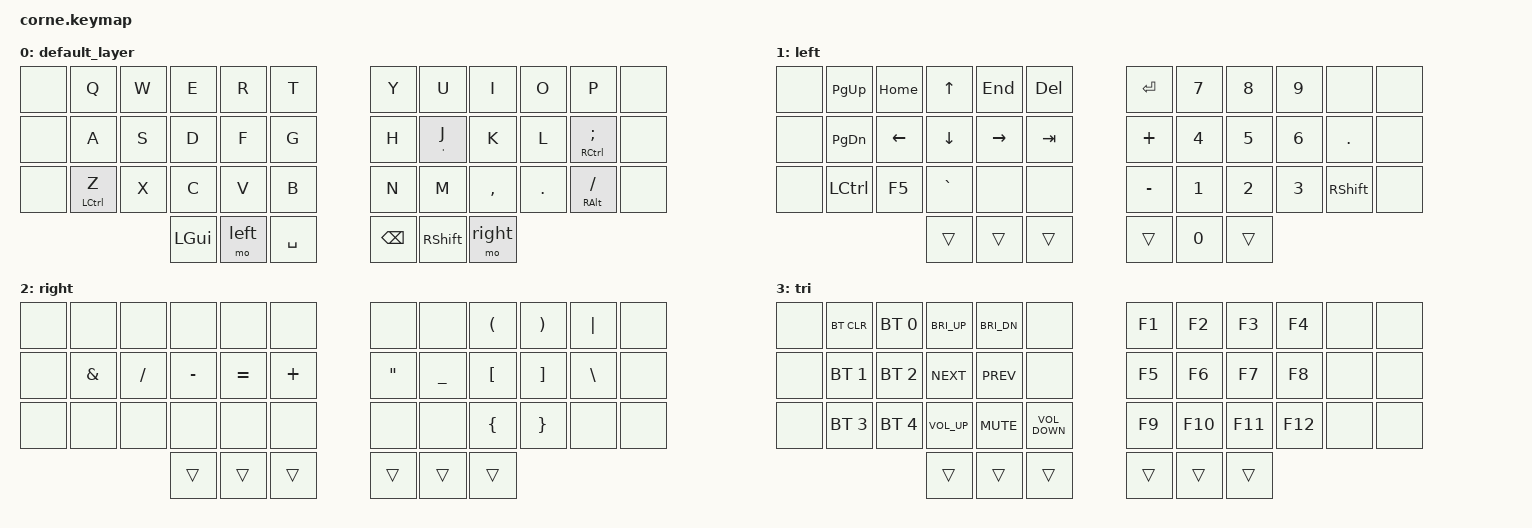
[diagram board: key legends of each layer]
/*
 * Copyright (c) 2020 The ZMK Contributors
 *
 * SPDX-License-Identifier: MIT
 */

#include <behaviors.dtsi>
#include <dt-bindings/zmk/keys.h>
#include <dt-bindings/zmk/bt.h>

#define default_layer 0
#define left 1
#define right 2
#define tri 3

&mt {
        tapping-term-ms=<250>;
};

/ {
//              q+w = ESC
        combos {
                compatible = "zmk,combos";
                combo_esc {
                        timeout-ms = <50>;
                        layers = <0>;
                        key-positions = <1 2>;
                        bindings = <&kp ESC>;
                };
//              q + e = ent
                combo_ent {
                        timeout-ms = <50>;
                        layers = <0>;
                        key-positions = <1 3>; 
                        bindings = <&kp RET>;
                };
//              q + p = pipe
                combo_pipe {
                        timeout-ms = <50>;
                        layers = <0>;
                        key-positions = <1 10>; 
                        bindings = <&kp PIPE>;
                };
        };
};

/ {
        conditional_layers {
                compatible = "zmk,conditional-layers";
                tri_layer {
                        if-layers = <left right>;
                        then-layer = <tri>;
                };
        };

        keymap {
                compatible = "zmk,keymap";
                default_layer {
// -----------------------------------------------------------------------------------------
// ||  Q  |  W  |  E  |  R  | T   |---|  Y  |  U   |  I   |  O  |  P      ||
// ||  A  |  S  |  D  |  F  | G   |---|  H  |  J'  |  K   |  L  | RCTRL;: ||
// ||CTRLZ|  X  |  C  |  V  | B   |---|  N  |  M   |  ,<  |  .> | (/?)RALT||
//              | GUI | LWR | SPC |---|BKSP|RSHFT | RSE  |
                        bindings = <
   &none &kp Q       &kp W    &kp E    &kp R     &kp T       &kp Y         &kp  U     &kp I      &kp O     &kp P               &none
   &none &kp A       &kp S    &kp D    &kp F     &kp G       &kp H         &mt APOS J &kp K      &kp L     &mt RCTRL SEMICOLON &none
   &none &mt LCTL Z  &kp X    &kp C    &kp V     &kp B       &kp N         &kp  M     &kp COMMA  &kp DOT   &mt RALT FSLH       &none
                              &kp LGUI &mo left &kp SPACE    &kp BKSP      &kp RSHFT  &mo right
                        >;
                };
                left {
// -----------------------------------------------------------------------------------------
// ||PGUP  | HOME|  UP | END | DEL |---|      | 7&  | 8* | 9(  |      ||
// ||PGDOWN| LFT | DWN | RGT | TAB |---|  RET | 4$  | 5% | 6^  | .    ||
// ||LCTRL | F5  |Grave|  -  |     |---|   -  | 1!  | 2@ | 3#  |RSHIFT||
//               |trans|trans|trans|---| trans| 0)  |trans|
                        bindings = <
   &none &kp PAGE_UP   &kp HOME   &kp UP    &kp END    &kp DEL     &kp RET   &kp N7 &kp N8 &kp N9  &none     &none
   &none &kp PAGE_DOWN &kp LEFT   &kp DOWN  &kp RIGHT  &kp TAB     &kp PLUS  &kp N4 &kp N5 &kp N6  &kp DOT   &none
   &none &kp LCTRL     &kp F5     &kp GRAVE &none      &none       &kp MINUS &kp N1 &kp N2 &kp N3  &kp RSHFT &none
                                  &trans    &trans     &trans      &trans    &kp N0 &trans
                        >;
                };
                right {
// -----------------------------------------------------------------------------------------
// ||     |     |     |     |     |---|     |     |  (  |  )  |  |  ||
// ||  *  |  /  |  -  |  =  |  +  |---|  "  |  _  |  [  |  ]  |  \  ||
// ||     |     |     |     |     |---|     |     |  {  |  }  |     ||
//              |trans|trans|trans|---|trans|trans|trans|
                        bindings = <
   &none &none    &none    &none     &none     &none       &none             &none              &kp LPAR  &kp RPAR &kp PIPE &none
   &none &kp AMPS &kp FSLH &kp MINUS &kp EQUAL &kp PLUS    &kp DOUBLE_QUOTES &kp UNDERSCORE     &kp LBKT  &kp RBKT &kp BSLH &none
   &none &none    &none    &none     &none     &none       &none             &none              &kp LBRC  &kp RBRC &none    &none
                           &trans    &trans    &trans      &trans            &trans             &trans
                        >;
                };
                tri {
// -----------------------------------------------------------------------------------------
// ||BT_CLR|BT1   |BRIUP |BRIDN |none  |---|  f1 | f2  |  f3 |  f4 |     ||
// ||BT2   |BT3   |NEXT  |Prev  |none  |---|  f5 | f6  |  f7 |  f8 |     ||
// ||BT4   |BT5   |VOLUP | MUTE |VOLDWN|---|  f9 | f10 | f11 | f12 |     ||
//                |trans |trans |trans |---|trans|trans|trans|
                        bindings = <
   &none &bt BT_CLR   &bt BT_SEL 0 &kp C_BRI_UP    &kp C_BRI_DN  &none              &kp F1   &kp F2  &kp F3  &kp F4  &none &none
   &none &bt BT_SEL 1 &bt BT_SEL 2 &kp C_NEXT      &kp C_PREV    &none              &kp F5   &kp F6  &kp F7  &kp F8  &none &none
   &none &bt BT_SEL 3 &bt BT_SEL 4 &kp C_VOLUME_UP &kp C_MUTE    &kp C_VOLUME_DOWN  &kp F9   &kp F10 &kp F11 &kp F12 &none &none
                                   &trans          &trans        &trans             &trans   &trans  &trans
                        >;
                };
        };
};
